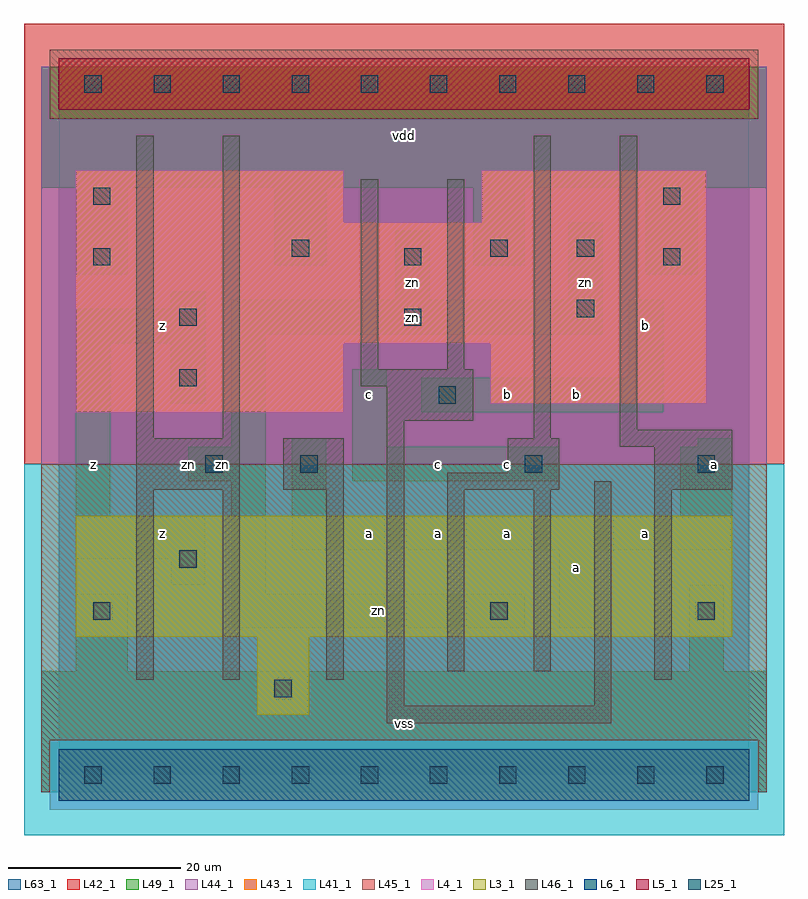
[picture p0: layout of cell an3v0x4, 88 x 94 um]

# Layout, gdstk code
import gdstk
lib = gdstk.Library(unit=1e-6, precision=1e-09)
def R(c, l, rs):  # rectangles x0, y0, x1, y1
    for r in rs: c.add(gdstk.rectangle(r[:2], r[2:], *l))
def A(c, l, x, y, w, h, nx, ny, dx, dy):  # array of equal rectangles
    R(c, l, [(x+i*dx, y+j*dy, x+i*dx+w, y+j*dy+h) for i in range(nx) for j in range(ny)])
L3_1 = (3, 1)
L4_1 = (4, 1)
L5_1 = (5, 1)
L6_1 = (6, 1)
L25_1 = (25, 1)
L41_1 = (41, 1)
L42_1 = (42, 1)
L43_1 = (43, 1)
L44_1 = (44, 1)
L45_1 = (45, 1)
L46_1 = (46, 1)
L49_1 = (49, 1)
L63_1 = (63, 1)

an3v0x4 = lib.new_cell('an3v0x4')
R(an3v0x4, L3_1, [(23,7,29,16), (2,16,78,30)])
R(an3v0x4, L4_1, [(2,42,33,50), (50,43,75,50), (2,50,75,64), (2,64,33,70), (49,64,75,70)])
R(an3v0x4, L5_1, [(0,77,80,83)])
R(an3v0x4, L6_1, [(0,-3,80,3), (0,-3,80,3)])
A(an3v0x4, L25_1, 3, -1, 2, 2, 10, 2, 8, 80)
R(an3v0x4, L25_1, [(25,9,27,11), (4,18,6,20), (50,18,52,20), (74,18,76,20), (14,24,16,26), (17,35,19,37), (28,35,30,37), (54,35,56,37), (74,35,76,37), (44,43,46,45), (14,45,16,47), (14,52,16,54), (40,52,42,54), (60,53,62,55), (4,59,6,61), (40,59,42,61), (70,59,72,61), (27,60,29,62), (50,60,52,62), (60,60,62,62), (4,66,6,68), (70,66,72,68)])
R(an3v0x4, L41_1, [(-4,-7,84,36)])
R(an3v0x4, L42_1, [(-4,36,84,87)])
R(an3v0x4, L43_1, [(0,-3,80,3), (23,7,29,16), (2,16,78,30), (2,42,33,50), (50,43,75,50), (2,50,75,64), (2,64,33,70), (49,64,75,70), (0,77,80,83)])
R(an3v0x4, L44_1, [(-1,-4,81,4), (-2,36,82,76), (-2,76,-1,82), (81,76,82,82)])
R(an3v0x4, L45_1, [(-2,-2,-1,4), (81,-2,82,4), (-2,4,82,36), (-1,76,81,84)])
R(an3v0x4, L46_1, [(38,6,64,8), (38,8,40,41), (62,8,64,34), (9,11,11,33), (19,11,21,33), (31,11,33,33), (69,11,71,33), (45,12,47,33), (55,12,57,33), (9,33,21,39), (26,33,33,39), (45,33,58,35), (69,33,78,38), (52,35,58,39), (65,38,78,40), (9,39,11,74), (19,39,21,74), (55,39,57,74), (65,40,67,74), (38,41,48,45), (35,45,48,47), (35,47,37,69), (45,47,47,69)])
R(an3v0x4, L49_1, [(-2,-2,82,12), (2,12,8,21), (73,12,77,22), (20,17,54,21), (58,17,62,26), (20,21,24,34), (13,22,17,25), (2,25,17,30), (27,26,78,30), (2,30,6,50), (27,30,31,39), (72,30,78,38), (15,34,24,38), (34,34,58,38), (20,38,24,51), (34,38,38,47), (74,38,78,39), (42,42,70,46), (13,43,17,50), (66,46,70,55), (2,50,17,54), (20,51,63,55), (13,54,17,56), (39,55,43,63), (59,55,63,64), (2,58,8,68), (68,58,74,68), (25,59,31,68), (48,59,54,68), (-2,68,82,82)])
R(an3v0x4, L63_1, [(0,0,80,80)])
an3v0x4.add(gdstk.Label('zn', (15,36), layer=46, texttype=1))
an3v0x4.add(gdstk.Label('z', (4,36), layer=49, texttype=1))
an3v0x4.add(gdstk.Label('z', (12,28), layer=49, texttype=1))
an3v0x4.add(gdstk.Label('zn', (19,36), layer=49, texttype=1))
an3v0x4.add(gdstk.Label('z', (12,52), layer=49, texttype=1))
an3v0x4.add(gdstk.Label('vss', (40,6), layer=49, texttype=1))
an3v0x4.add(gdstk.Label('a', (44,28), layer=49, texttype=1))
an3v0x4.add(gdstk.Label('a', (36,28), layer=49, texttype=1))
an3v0x4.add(gdstk.Label('c', (44,36), layer=49, texttype=1))
an3v0x4.add(gdstk.Label('c', (36,44), layer=49, texttype=1))
an3v0x4.add(gdstk.Label('zn', (41,57), layer=49, texttype=1))
an3v0x4.add(gdstk.Label('vdd', (40,74), layer=49, texttype=1))
an3v0x4.add(gdstk.Label('a', (52,28), layer=49, texttype=1))
an3v0x4.add(gdstk.Label('zn', (37,19), layer=49, texttype=1))
an3v0x4.add(gdstk.Label('a', (60,24), layer=49, texttype=1))
an3v0x4.add(gdstk.Label('c', (52,36), layer=49, texttype=1))
an3v0x4.add(gdstk.Label('b', (52,44), layer=49, texttype=1))
an3v0x4.add(gdstk.Label('b', (60,44), layer=49, texttype=1))
an3v0x4.add(gdstk.Label('zn', (41,53), layer=49, texttype=1))
an3v0x4.add(gdstk.Label('zn', (61,57), layer=49, texttype=1))
an3v0x4.add(gdstk.Label('a', (68,28), layer=49, texttype=1))
an3v0x4.add(gdstk.Label('a', (76,36), layer=49, texttype=1))
an3v0x4.add(gdstk.Label('b', (68,52), layer=49, texttype=1))

lib.write_gds('an3v0x4.gds')
